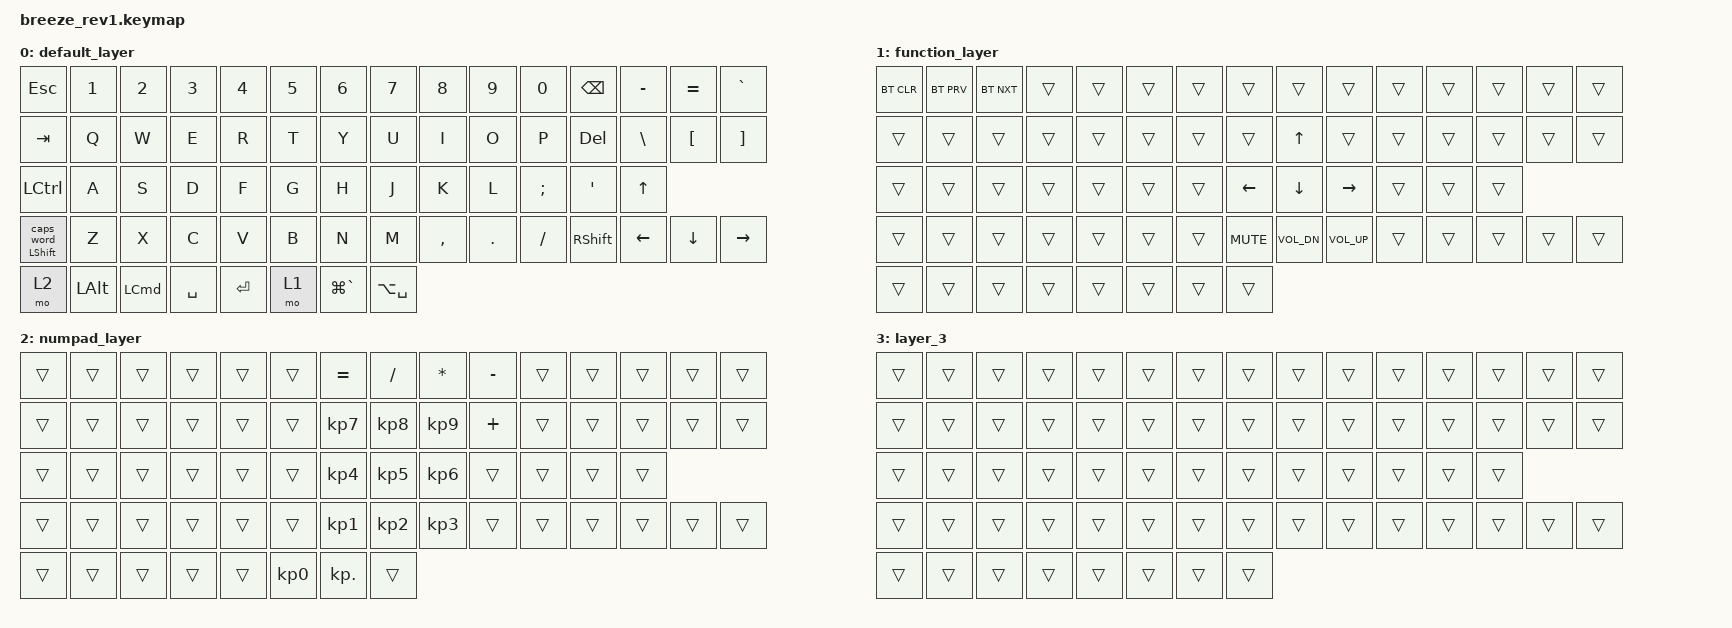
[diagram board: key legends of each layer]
/*
 * Copyright (c) 2022 The ZMK Contributors
 *
 * SPDX-License-Identifier: MIT
 */

#include <behaviors.dtsi>
#include <dt-bindings/zmk/bt.h>
#include <dt-bindings/zmk/keys.h>

/ {
    behaviors {
        new_behavior: new_behavior {
            compatible = "zmk,behavior-hold-tap";
            label = "NEW_BEHAVIOR";
            bindings = <&kp>, <&caps_word>;

            #binding-cells = <2>;
            tapping-term-ms = <200>;
            hold-while-undecided;
            hold-while-undecided-linger;
            hold-trigger-key-positions = <43>;
        };
    };

    keymap {
        compatible = "zmk,keymap";

        default_layer {
            // Ref: https://zmkfirmware.dev/docs/codes/
            // ---  MAIN  -----------------------------------------------------------------------------------------------------------------------
            // |    ESC    |     1     |     2     |     3      |      4      |      5     |                           |      6      |      7     |      8      |      9     |     0    |    BSPC    | |    -/_    |     =/+     |    GRAVE    |
            // |    TAB    |     Q     |     W     |     E      |      R      |      T     |                           |      Y      |      U     |      I      |      O     |     P    |    DEL     | |     \     |      [      |      ]      |
            // |   LCTRL   |     A     |     S     |     D      |      F      |      G     |                           |      H      |      J     |      K      |      L     |     ;    |     '      | |           |      UP     |             |
            // |   SHIFT   |     Z     |     X     |     C      |      V      |      B     |                           |      N      |      M     |      ,      |      .     |     /    |   RSHIFT   | |     L     |      DN     |      R      |
            //                                     |   NUMPAD   |     LALT    |    LCMD    |   SPACE    |  |   ENTER   |   FUNCTION  |  MACOS APP |  MACOS LANG |

            bindings = <
&kp ESC                &kp N1    &kp N2    &kp N3     &kp N4   &kp N5  &kp N6         &kp N7         &kp N8     &kp N9   &kp N0    &kp BSPC    &kp MINUS  &kp EQUAL  &kp GRAVE
&kp TAB                &kp Q     &kp W     &kp E      &kp R    &kp T   &kp Y          &kp U          &kp I      &kp O    &kp P     &kp DEL     &kp BSLH   &kp LBKT   &kp RBKT
&kp LCTRL              &kp A     &kp S     &kp D      &kp F    &kp G   &kp H          &kp J          &kp K      &kp L    &kp SEMI  &kp APOS    &kp UP
&new_behavior LSHFT 0  &kp Z     &kp X     &kp C      &kp V    &kp B   &kp N          &kp M          &kp COMMA  &kp DOT  &kp FSLH  &kp RSHIFT  &kp LEFT   &kp DOWN   &kp RIGHT
&mo 2                  &kp LALT  &kp LCMD  &kp SPACE  &kp RET  &mo 1   &kp LG(GRAVE)  &kp LA(SPACE)
            >;
        };

        function_layer {
            // ---  FUNCTION  -------------------------------------------------------------------------------------------------------------------
            // | BT Clear  |  BT Prev  |  BT Next  |            |             |            |                           |             |            |             |            |          |            | |           |             |             |
            // |           |           |           |            |             |            |                           |             |            |     UP      |            |          |            | |           |             |             |
            // |           |           |           |            |             |            |                           |             |    LEFT    |    DOWN     |   RIGHT    |          |            | |           |             |             |
            // |           |           |           |            |             |            |                           |             |    MUTE    |  VOL DOWN   |   VOL UP   |          |            | |           |             |             |
            //                                     |            |             |            |            |  |           |             |            |             |

            bindings = <
&bt BT_CLR  &bt BT_PRV  &bt BT_NXT  &trans  &trans  &trans  &trans  &trans      &trans        &trans        &trans  &trans  &trans  &trans  &trans
&trans      &trans      &trans      &trans  &trans  &trans  &trans  &trans      &kp UP        &trans        &trans  &trans  &trans  &trans  &trans
&trans      &trans      &trans      &trans  &trans  &trans  &trans  &kp LEFT    &kp DOWN      &kp RIGHT     &trans  &trans  &trans
&trans      &trans      &trans      &trans  &trans  &trans  &trans  &kp C_MUTE  &kp C_VOL_DN  &kp C_VOL_UP  &trans  &trans  &trans  &trans  &trans
&trans      &trans      &trans      &trans  &trans  &trans  &trans  &trans
            >;
        };

        numpad_layer {
            // ---  NUMPAD  -------------------------------------------------------------------------------------------------------------------
            // |           |           |           |            |             |            |                           |       =       |      /       |      *       |      -     |          |            | |           |             |             |
            // |           |           |           |            |             |            |                           |       7       |      8       |      9       |      +     |          |            | |           |             |             |
            // |           |           |           |            |             |            |                           |       4       |      5       |      6       |            |          |            | |           |             |             |
            // |           |           |           |            |             |            |                           |       1       |      2       |      3       |            |          |            | |           |             |             |
            //                                     |            |             |            |            |  |           |       0       |      .       |              |

            bindings = <
&trans  &trans  &trans  &trans  &trans  &trans           &kp EQUAL        &kp SLASH        &kp STAR         &kp MINUS  &trans  &trans  &trans  &trans  &trans
&trans  &trans  &trans  &trans  &trans  &trans           &kp KP_NUMBER_7  &kp KP_NUMBER_8  &kp KP_NUMBER_9  &kp PLUS   &trans  &trans  &trans  &trans  &trans
&trans  &trans  &trans  &trans  &trans  &trans           &kp KP_NUMBER_4  &kp KP_NUMBER_5  &kp KP_NUMBER_6  &trans     &trans  &trans  &trans
&trans  &trans  &trans  &trans  &trans  &trans           &kp KP_NUMBER_1  &kp KP_NUMBER_2  &kp KP_NUMBER_3  &trans     &trans  &trans  &trans  &trans  &trans
&trans  &trans  &trans  &trans  &trans  &kp KP_NUMBER_0  &kp KP_DOT       &trans
            >;
        };

        layer_3 {
            bindings = <
&trans  &trans  &trans  &trans  &trans  &trans  &trans  &trans  &trans  &trans  &trans  &trans  &trans  &trans  &trans
&trans  &trans  &trans  &trans  &trans  &trans  &trans  &trans  &trans  &trans  &trans  &trans  &trans  &trans  &trans
&trans  &trans  &trans  &trans  &trans  &trans  &trans  &trans  &trans  &trans  &trans  &trans  &trans
&trans  &trans  &trans  &trans  &trans  &trans  &trans  &trans  &trans  &trans  &trans  &trans  &trans  &trans  &trans
&trans  &trans  &trans  &trans  &trans  &trans  &trans  &trans
            >;
        };
    };
};
